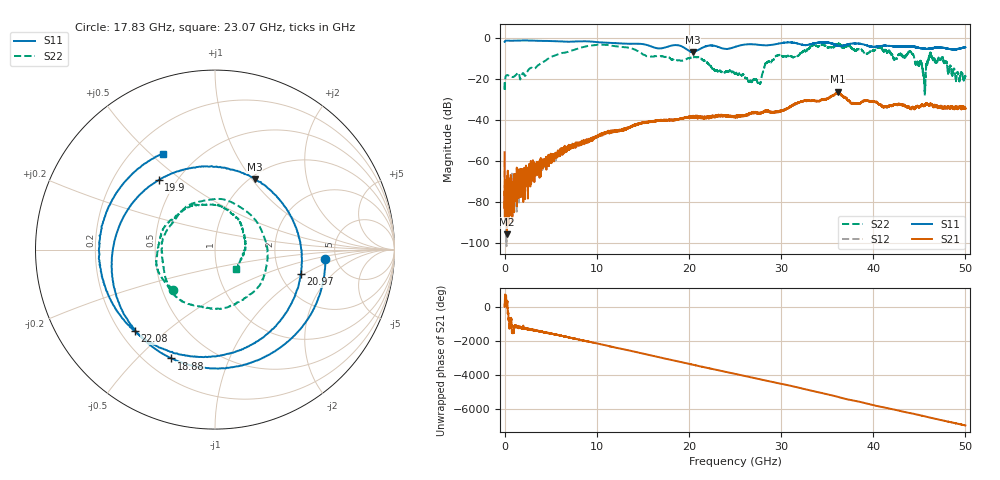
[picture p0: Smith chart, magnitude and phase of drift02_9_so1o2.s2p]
!Created with skrf (http://scikit-rf.org).
# Hz S RI R 50.0
!freq ReS11 ImS11 ReS21 ImS21 ReS12 ImS12 ReS22 ImS22
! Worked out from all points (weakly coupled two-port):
!   10001 points, 300 kHz to 50 GHz, reference 50 ohm
!   highest |S21| = -26.30 dB at 36.14 GHz (marker M1); lowest = -95.6 dB at 260.3 MHz (marker M2)
!   lowest |S11| = -6.9 dB at 20.39 GHz (marker M3), VSWR 2.64, Z = 52.6 + j51.6 ohm
!   |S11| at or under -10 dB: nowhere
!   |S22| runs from -28.4 to -2.7 dB; largest |S21 - S12| = 0.0048
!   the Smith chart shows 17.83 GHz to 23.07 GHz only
!   S11 on the Smith chart (normalised r, x): 17.83 GHz: 4.09, -0.69; 18.88 GHz: 0.30, -0.63; 19.9 GHz: 0.40, +0.41; 20.97 GHz: 2.58, -0.94; 22.08 GHz: 0.26, -0.40; 23.07 GHz: 0.32, +0.55
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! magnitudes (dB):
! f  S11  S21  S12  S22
! 300 kHz  -2.0  -55.7  -59.7  -21.7
! 260.3 MHz  -1.4  -95.6  -84.3  -18.2
! 1.925 GHz  -1.4  -66.2  -66.0  -17.5
! 8.335 GHz  -1.7  -51.2  -51.0  -4.8
! 16.67 GHz  -5.2  -40.3  -40.3  -8.9
! 17.83 GHz  -4.2  -40.2  -40.0  -9.8
! 18.88 GHz  -3.7  -39.6  -39.6  -11.0
! 19.9 GHz  -6.0  -38.6  -38.7  -9.9
! 20.39 GHz  -6.9  -38.4  -38.5  -9.7
! 20.97 GHz  -6.1  -38.3  -38.6  -9.4
! 22.08 GHz  -3.9  -38.8  -38.7  -12.6
! 23.07 GHz  -4.3  -38.1  -38.3  -15.9
! 25 GHz  -4.5  -38.2  -38.2  -17.4
! 27.61 GHz  -3.5  -36.7  -36.8  -22.0
! 28.5 GHz  -3.7  -35.4  -35.7  -12.1
! 33.34 GHz  -3.0  -30.6  -30.6  -3.8
! 36.14 GHz  -3.9  -26.3  -26.9  -3.2
! 41.67 GHz  -4.0  -33.4  -33.4  -6.3
! 44.12 GHz  -4.1  -34.9  -34.5  -7.2
! 45.5 GHz  -5.5  -33.0  -32.8  -19.9
! 46.25 GHz  -5.3  -32.1  -32.0  -8.0
! 50 GHz  -4.6  -34.6  -35.1  -18.9
